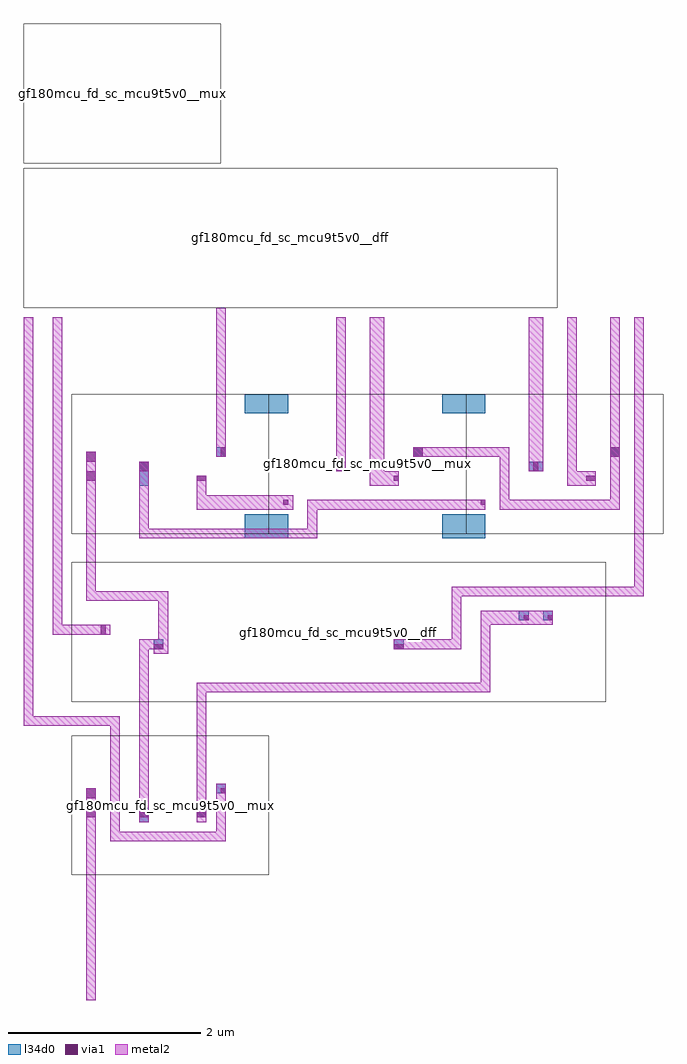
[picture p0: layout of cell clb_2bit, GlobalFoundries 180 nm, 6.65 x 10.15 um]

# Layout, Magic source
magic
tech gf180mcu
use TOP TOP_1
transform 1 0 -14 0 1 91
box 14 -91 146 53
use gf180mcu_fd_sc_mcu9t5v0__dffrnq_4 gf180mcu_fd_sc_mcu9t5v0__dffrnq_4_1
transform 1 0 2 0 1 146
box -2 -2 109 27
use gf180mcu_fd_sc_mcu9t5v0__mux2_1 gf180mcu_fd_sc_mcu9t5v0__mux2_1_1
transform 1 0 2 0 1 176
box -2 -2 39 27
<< end >>

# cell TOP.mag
magic
tech gf180mcu
<< l34d0 >>
rect 60 5 69 10
rect 60 31 69 35
rect 101 31 110 35
rect 101 5 110 10
rect 38 16 40 21
rect 54 22 56 24
rect 95 22 97 24
rect 41 -18 43 -16
rect 136 22 138 24
rect 119 19 122 21
rect 79 19 81 21
rect 38 -54 40 -51
rect 117 -12 119 -10
rect 122 -12 124 -10
rect 50 -53 52 -52
rect 54 -48 56 -46
rect 91 -18 93 -16
<< metal2 >>
rect 50 11 70 14
rect 50 14 52 18
rect 113 11 138 13
rect 113 13 115 22
rect 95 22 115 24
rect 136 13 138 24
rect 38 5 75 7
rect 73 7 75 11
rect 73 11 110 13
rect 38 7 40 21
rect 42 -19 44 -8
rect 27 -8 44 -6
rect 27 -6 29 23
rect 41 -19 44 -16
rect 54 22 56 53
rect 127 16 133 19
rect 127 19 129 51
rect 136 22 138 51
rect 119 19 122 51
rect 79 19 81 51
rect 86 16 92 19
rect 86 19 89 51
rect 20 -15 32 -13
rect 20 -13 22 51
rect 38 -54 40 -18
rect 38 -18 43 -16
rect 50 -54 52 -27
rect 50 -27 111 -25
rect 109 -25 111 -13
rect 109 -13 124 -10
rect 32 -58 56 -56
rect 54 -56 56 -46
rect 32 -56 34 -34
rect 14 -34 34 -32
rect 14 -32 16 51
rect 91 -18 105 -16
rect 103 -16 105 -7
rect 103 -7 143 -5
rect 141 -5 143 51
rect 27 -91 29 -47
<< via1 >>
rect 50 17 52 18
rect 68 12 69 13
rect 109 12 110 13
rect 38 19 40 21
rect 55 22 56 24
rect 95 22 97 24
rect 136 22 138 24
rect 27 21 29 23
rect 27 17 29 19
rect 27 21 29 23
rect 41 -18 43 -17
rect 131 17 133 18
rect 120 19 121 21
rect 79 19 81 21
rect 91 17 92 18
rect 30 -15 31 -13
rect 38 -53 40 -52
rect 118 -12 119 -11
rect 123 -12 124 -11
rect 50 -53 52 -52
rect 55 -48 56 -47
rect 91 -18 93 -17
rect 27 -49 29 -47
rect 27 -53 29 -51
rect 27 -49 29 -47
use gf180mcu_fd_sc_mcu9t5v0__mux2_1 gf180mcu_fd_sc_mcu9t5v0__mux2_1_1
transform 1 0 26 0 1 -63
box -2 -2 39 27
use gf180mcu_fd_sc_mcu9t5v0__mux2_1 gf180mcu_fd_sc_mcu9t5v0__mux2_1_2
transform 1 0 67 0 1 8
box -2 -2 39 27
use gf180mcu_fd_sc_mcu9t5v0__mux2_1 gf180mcu_fd_sc_mcu9t5v0__mux2_1_3
transform 1 0 26 0 1 8
box -2 -2 39 27
use gf180mcu_fd_sc_mcu9t5v0__dffrnq_4 gf180mcu_fd_sc_mcu9t5v0__dffrnq_4_1
transform 1 0 26 0 1 -27
box -2 -2 109 27
use gf180mcu_fd_sc_mcu9t5v0__mux2_1 gf180mcu_fd_sc_mcu9t5v0__mux2_1_4
transform 1 0 108 0 1 8
box -2 -2 39 27
<< end >>
